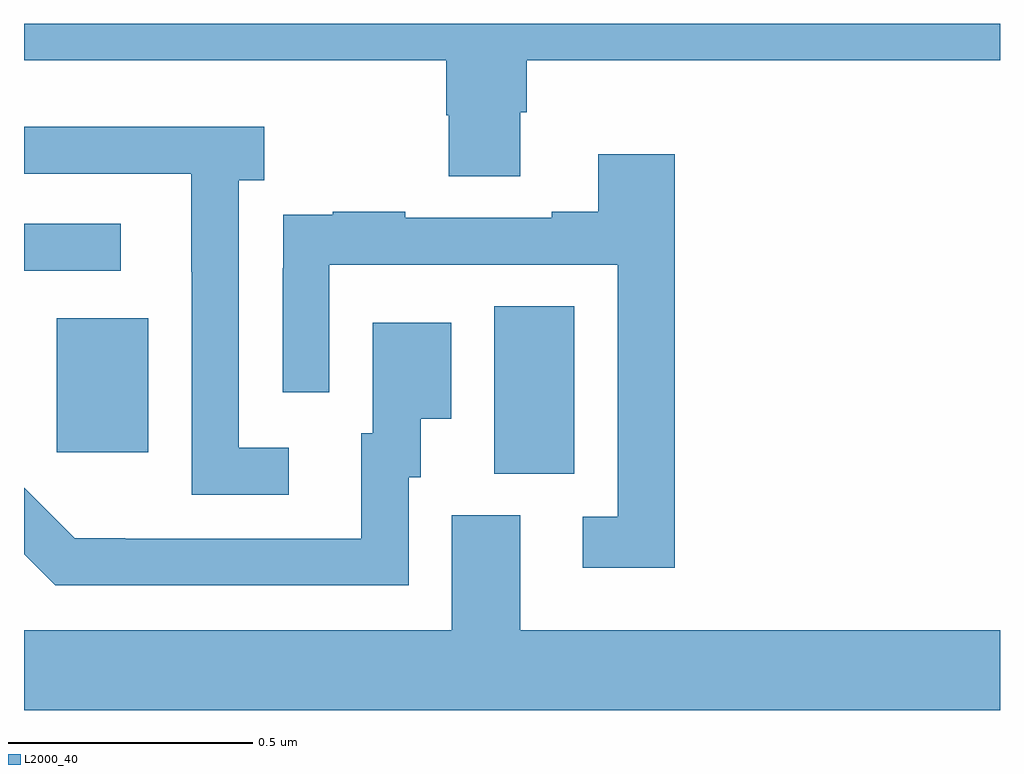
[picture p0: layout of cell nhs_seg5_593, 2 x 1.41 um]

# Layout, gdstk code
import gdstk
lib = gdstk.Library(unit=1e-6, precision=1e-09)
def R(c, l, rs):  # rectangles x0, y0, x1, y1
    for r in rs: c.add(gdstk.rectangle(r[:2], r[2:], *l))
def P(c, l, *ps):  # polygons
    for p in ps: c.add(gdstk.Polygon(p, *l))
L2000_40 = (2000, 40)

nhs_seg5_593 = lib.new_cell('nhs_seg5_593')
R(nhs_seg5_593, L2000_40, [(118.964,891.877,119.128,892.22), (118.067,891.921,118.255,892.195), (118,892.293,118.198,892.389)])
P(nhs_seg5_593, L2000_40, [(119.017,892.618),(119.03,892.618),(119.03,892.724),(120,892.724),(120,892.799),(118,892.799),(118,892.724),(118.865,892.724),(118.865,892.611),(118.87,892.611),(118.87,892.486),(119.017,892.486)],
  [(118.543,891.93),(118.44,891.93),(118.44,892.478),(118.492,892.478),(118.492,892.588),(118,892.588),(118,892.491),(118.343,892.491),(118.343,892.291),(118.344,892.291),(118.344,891.834),(118.543,891.834)],
  [(119.333,892.531),(119.177,892.531),(119.177,892.414),(119.081,892.414),(119.081,892.401),(118.781,892.401),(118.781,892.414),(118.633,892.414),(118.633,892.407),(118.531,892.407),(118.531,892.298),(118.53,892.298),(118.53,892.044),(118.626,892.044),(118.626,892.305),(119.217,892.305),(119.217,891.789),(119.145,891.789),(119.145,891.684),(119.333,891.684)],
  [(118.788,891.87),(118.813,891.87),(118.813,891.989),(118.876,891.989),(118.876,892.186),(118.715,892.186),(118.715,891.96),(118.691,891.96),(118.691,891.744),(118.207,891.744),(118.207,891.745),(118.104,891.745),(118,891.848),(118,891.712),(118.064,891.648),(118.788,891.648)],
  [(120,891.556),(119.017,891.556),(119.017,891.792),(118.877,891.792),(118.877,891.556),(118,891.556),(118,891.392),(120,891.392)])

lib.write_gds('nhs_seg5_593.gds')
